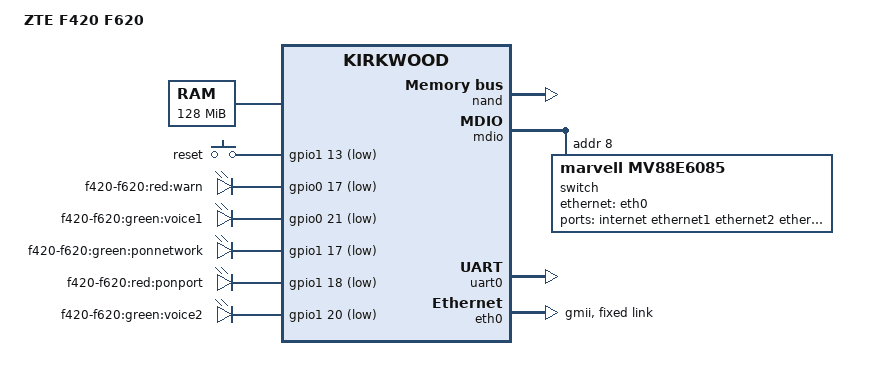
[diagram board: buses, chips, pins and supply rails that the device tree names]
/*
 * Device Tree file for zte f420 and f620
 * 
 *   (c) 2021 winnt5 <jiconglu58@gmail.com>
 *
 * based on
 *
 * Copyright (c) 2021 bodhi <mibodhi@gmail.com>
 *
 * based on 
 *  (c) 2015 Claudio Leite <leitec@staticky.com>
 *
 * based on kirkwood-ea4500.dts,
 *   (c) 2013 Jonas Gorski <jogo@openwrt.org>
 *   (c) 2013 Deutsche Telekom Innovation Laboratories
 *   (c) 2014 Luka Perkov <luka@openwrt.org>
 *
 * This file is licensed under the terms of the GNU General Public
 * License version 2.  This program is licensed "as is" without any
 * warranty of any kind, whether express or implied.
 */

/dts-v1/;

#include "avanta.dtsi"
#include "avanta-6560.dtsi"

/ {
	model = "ZTE F420 F620";
	compatible = "zte,f420-f620", "marvell,kirkwood-88f6282", "marvell,kirkwood";

	memory {
		device_type = "memory";
		reg = <0x00000000 0x8000000>;
	};

	aliases {
		serial0 = &uart0;
	};

	chosen {
		stdout-path = "serial0:115200n8";
	};

	gpio_keys {
		compatible = "gpio-keys";

		button@13 {
			label = "reset";
			linux,code = <KEY_RESTART>;
			gpios = <&gpio1 13 GPIO_ACTIVE_LOW>;
		};
	};

	gpio-leds {
		compatible = "gpio-leds";

		red-warn {
			label = "f420-f620:red:warn";
			gpios = <&gpio0 17 GPIO_ACTIVE_LOW>;
		};

		green-voice1 {
			label = "f420-f620:green:voice1";
			gpios = <&gpio0 21 GPIO_ACTIVE_LOW>;
		};

		green-ponnetwork {
			label = "f420-f620:green:ponnetwork";
			gpios = <&gpio1 17 GPIO_ACTIVE_LOW>;
		};

		red-ponport {
			label = "f420-f620:red:ponport";
			gpios = <&gpio1 18 GPIO_ACTIVE_LOW>;
		};

		green-voice2 {
			label = "f420-f620:green:voice2";
			gpios = <&gpio1 20 GPIO_ACTIVE_LOW>;
		};
	};
};

&nand {
	status = "okay";

	partitions {
		compatible = "fixed-partitions";
		#address-cells = <1>;
		#size-cells = <1>;

		partition@0 {
			label = "u-boot";
			reg = <0x0 0xc0000>;
			read-only;
		};

		partition@c0000 {
			label = "uboot_env";
			reg = <0xc0000 0x40000>;
		};

		partition@100000 {
			label = "kernel";
			reg = <0x100000 0x400000>;
		};

		partition@500000 {
			label = "ubi";
			reg = <0x500000 0x1b00000>;
		};
	};
};

&mdio {
	status = "okay";

	switch@8 {
		compatible = "marvell,mv88e6085";
		#address-cells = <1>;
		#size-cells = <0>;
		reg = <8>;

		ports {
			#address-cells = <1>;
			#size-cells = <0>;

			port@0 {
				reg = <0>;
				label = "internet";
			};

			port@1 {
				reg = <1>;
				label = "ethernet1";
			};

			port@2 {
				reg = <2>;
				label = "ethernet2";
			};

			port@3 {
				reg = <3>;
				label = "ethernet3";
			};

			port@4 {
				reg = <4>;
				phy-mode = "gmii";
				ethernet = <&eth0>;
				fixed-link {
					speed = <1000>;
					full-duplex;
				};
			};
		};
	};
};

&uart0 {
	status = "okay";
};

/* usb for f420-f620 devices will cause system halt */
&usb0 {
	status = "disabled";
};

/* eth0 is connected to a Marvell 88F6560 internal switch, without a PHY. So set
 * fixed speed and duplex.
 */
&eth0 {
	status = "okay";
	phy-mode = "gmii";
	fixed-link {
		speed = <1000>;
		full-duplex;
	};
};

&eth1 {
	status = "disabled";
};

/* There is no battery on the board, so the RTC does not keep
 * time when there is no power, making it useless.
 */
&rtc {
	status = "disabled";
};
